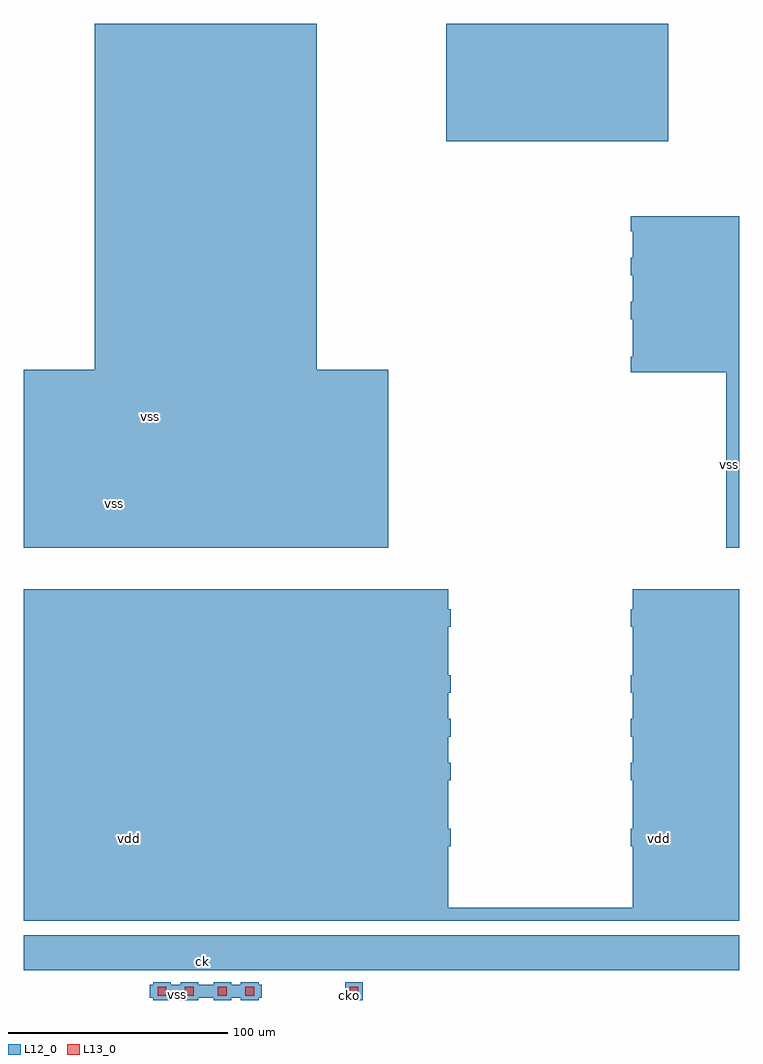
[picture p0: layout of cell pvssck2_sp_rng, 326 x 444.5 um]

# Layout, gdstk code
import gdstk
lib = gdstk.Library(unit=1e-6, precision=2.5e-08)
def R(c, l, rs):  # rectangles x0, y0, x1, y1
    for r in rs: c.add(gdstk.rectangle(r[:2], r[2:], *l))
def A(c, l, x, y, w, h, nx, ny, dx, dy):  # array of equal rectangles
    R(c, l, [(x+i*dx, y+j*dy, x+i*dx+w, y+j*dy+h) for i in range(nx) for j in range(ny)])
L12_0 = (12, 0)
L13_0 = (13, 0)

pvssck2_sp_rng = lib.new_cell('pvssck2_sp_rng')
A(pvssck2_sp_rng, L12_0, -3, 96, 194.5, 8, 1, 3, 0, 20)
A(pvssck2_sp_rng, L12_0, 273.5, 96, 49.5, 8, 1, 3, 0, 20)
R(pvssck2_sp_rng, L12_0, [(56,-4,64,4), (68.5,-4,76.5,4), (83.5,-4,91.5,4), (96,-4,104,4), (143.5,-4,151.5,4), (54.5,-3,105.5,3), (-3,9.5,323,25.5), (-3,32,190.5,183), (-3,32,323,38), (274.5,32,323,183), (-3,66,191.5,74), (273.5,66,323,74), (-3,166,191.5,174), (273.5,166,323,174), (-3,202,163,283), (29.5,202,130.5,440.5), (317,202,323,353), (273.5,282,323,289), (274.5,282,323,353), (273.5,306,323,314), (273.5,326,323,334), (273.5,346,323,353), (189.5,387,290.5,440.5)])
R(pvssck2_sp_rng, L13_0, [(58,-2,62,2), (70.5,-2,74.5,2), (85.5,-2,89.5,2), (98,-2,102,2), (145.5,-2,149.5,2)])
pvssck2_sp_rng.add(gdstk.Label('vdd', (45.375,69.75), layer=60, texttype=0))
pvssck2_sp_rng.add(gdstk.Label('vss', (318.5,239.75), layer=60, texttype=0))
pvssck2_sp_rng.add(gdstk.Label('vdd', (286.625,69.75), layer=60, texttype=0))
pvssck2_sp_rng.add(gdstk.Label('ck', (78.5,13.5), layer=60, texttype=0))
pvssck2_sp_rng.add(gdstk.Label('vss', (54.75,261.625), layer=60, texttype=0))
pvssck2_sp_rng.add(gdstk.Label('vss', (38.5,222.25), layer=60, texttype=0))
pvssck2_sp_rng.add(gdstk.Label('vss', (67.25,-1.5), layer=60, texttype=0))
pvssck2_sp_rng.add(gdstk.Label('cko', (145.5,-2), layer=60, texttype=0))

lib.write_gds('pvssck2_sp_rng.gds')
